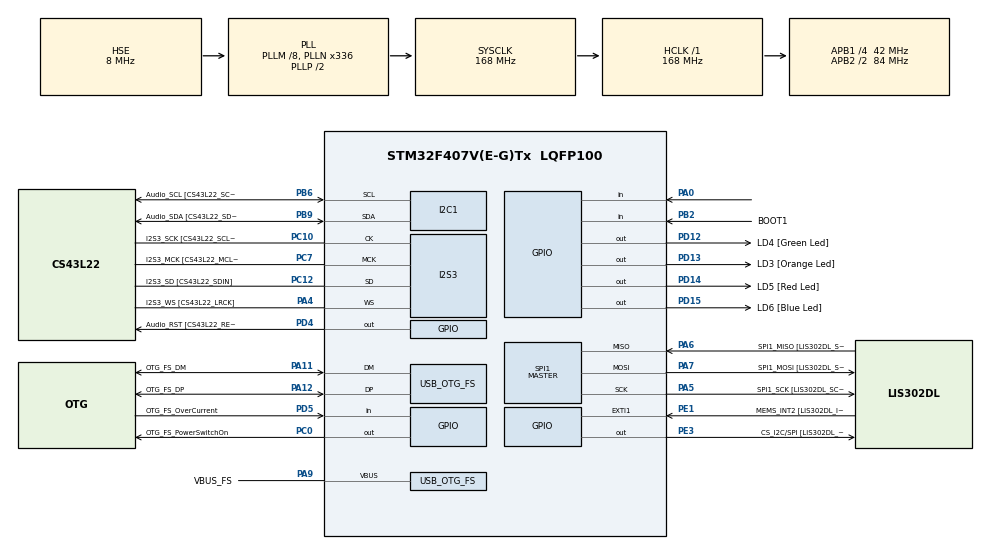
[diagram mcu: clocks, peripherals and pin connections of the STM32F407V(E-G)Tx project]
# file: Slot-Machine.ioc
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FREERTOS.Tasks01=defaultTask,24,128,StartDefaultTask,Default,NULL,Dynamic,NULL,NULL
I2S3.AudioFreq-Half_Duplex_Master=I2S_AUDIOFREQ_96K
I2S3.ErrorAudioFreq=-2.34 %
I2S3.ErrorAudioFreq-Half_Duplex_Master=0.8 %
I2S3.FullDuplexMode=I2S_FULLDUPLEXMODE_DISABLE
I2S3.Instance=SPI$Index
I2S3.RealAudioFreq=93.75 KHz
I2S3.RealAudioFreq-Half_Duplex_Master=96.774 KHz
I2S3.VirtualMode=I2S_MODE_MASTER
Mcu.Family=STM32F4
Mcu.Name=STM32F407V(E-G)Tx
Mcu.Package=LQFP100
NVIC.OTG_FS_IRQn=true\:5\:0\:false\:false\:true\:true\:true\:true\:true
NVIC.PriorityGroup=NVIC_PRIORITYGROUP_4
PA0-WKUP.Signal=GPIO_Input
PA10.GPIO_Label=OTG_FS_ID
PA10.GPIO_Mode=GPIO_MODE_AF_PP
PA10.GPIO_PuPd=GPIO_NOPULL
PA10.GPIO_Speed=GPIO_SPEED_FREQ_LOW
PA10.Signal=USB_OTG_FS_ID
PA11.GPIO_Label=OTG_FS_DM
PA11.GPIO_Mode=GPIO_MODE_AF_PP
PA11.GPIO_PuPd=GPIO_NOPULL
PA11.GPIO_Speed=GPIO_SPEED_FREQ_LOW
PA11.Mode=Host_Only
PA11.Signal=USB_OTG_FS_DM
PA12.GPIO_Label=OTG_FS_DP
PA12.GPIO_Mode=GPIO_MODE_AF_PP
PA12.GPIO_PuPd=GPIO_NOPULL
PA12.GPIO_Speed=GPIO_SPEED_FREQ_LOW
PA12.Mode=Host_Only
PA12.Signal=USB_OTG_FS_DP
PA13.GPIO_Label=SWDIO
PA13.Mode=Serial_Wire
PA13.Signal=SYS_JTMS-SWDIO
PA14.GPIO_Label=SWCLK
PA14.Mode=Serial_Wire
PA14.Signal=SYS_JTCK-SWCLK
PA4.GPIO_Label=I2S3_WS [CS43L22_LRCK]
PA4.GPIO_Mode=GPIO_MODE_AF_PP
PA4.GPIO_PuPd=GPIO_NOPULL
PA4.GPIO_Speed=GPIO_SPEED_FREQ_LOW
PA4.Mode=Half_Duplex_Master
PA4.Signal=I2S3_WS
PA5.GPIO_Label=SPI1_SCK [LIS302DL_SCL/SPC]
PA5.GPIO_Mode=GPIO_MODE_AF_PP
PA5.GPIO_PuPd=GPIO_NOPULL
PA5.GPIO_Speed=GPIO_SPEED_FREQ_LOW
PA5.Mode=Full_Duplex_Master
PA5.Signal=SPI1_SCK
PA6.GPIO_Label=SPI1_MISO [LIS302DL_SDO]
PA6.GPIO_Mode=GPIO_MODE_AF_PP
PA6.GPIO_PuPd=GPIO_NOPULL
PA6.GPIO_Speed=GPIO_SPEED_FREQ_LOW
PA6.Mode=Full_Duplex_Master
PA6.Signal=SPI1_MISO
PA7.GPIO_Label=SPI1_MOSI [LIS302DL_SDA/SDI/SDO]
PA7.GPIO_Mode=GPIO_MODE_AF_PP
PA7.GPIO_PuPd=GPIO_NOPULL
PA7.GPIO_Speed=GPIO_SPEED_FREQ_LOW
PA7.Mode=Full_Duplex_Master
PA7.Signal=SPI1_MOSI
PA9.GPIO_Label=VBUS_FS
PA9.GPIO_Mode=GPIO_MODE_INPUT
PA9.GPIO_PuPd=GPIO_NOPULL
PA9.Mode=Activate_VBUS
PA9.Signal=USB_OTG_FS_VBUS
PB10.GPIO_Label=CLK_IN [MP45DT02_CLK]
PB10.GPIO_Mode=GPIO_MODE_AF_PP
PB10.GPIO_PuPd=GPIO_NOPULL
PB10.GPIO_Speed=GPIO_SPEED_FREQ_LOW
PB10.Signal=I2S2_CK
PB2.GPIO_Label=BOOT1
PB2.GPIO_Mode=GPIO_MODE_INPUT
PB2.GPIO_PuPd=GPIO_NOPULL
PB2.Signal=GPIO_Input
PB3.GPIO_Label=SWO
PB3.Signal=SYS_JTDO-SWO
PB6.GPIO_Label=Audio_SCL [CS43L22_SCL]
PB6.GPIO_Mode=GPIO_MODE_AF_OD
PB6.GPIO_Pu=GPIO_PULLUP
PB6.GPIO_PuPd=GPIO_NOPULL
PB6.GPIO_Speed=GPIO_SPEED_FREQ_LOW
PB6.Mode=I2C
PB6.Signal=I2C1_SCL
PB9.GPIO_Label=Audio_SDA [CS43L22_SDA]
PB9.GPIO_Mode=GPIO_MODE_AF_OD
PB9.GPIO_Pu=GPIO_PULLUP
PB9.GPIO_PuPd=GPIO_NOPULL
PB9.GPIO_Speed=GPIO_SPEED_FREQ_LOW
PB9.Mode=I2C
PB9.Signal=I2C1_SDA
PC0.GPIO_Label=OTG_FS_PowerSwitchOn
PC0.GPIO_PuPd=GPIO_NOPULL
PC0.GPIO_Speed=GPIO_SPEED_FREQ_LOW
PC0.PinState=GPIO_PIN_SET
PC0.Signal=GPIO_Output
PC10.GPIO_Label=I2S3_SCK [CS43L22_SCLK]
PC10.GPIO_Mode=GPIO_MODE_AF_PP
PC10.GPIO_PuPd=GPIO_NOPULL
PC10.GPIO_Speed=GPIO_SPEED_FREQ_LOW
PC10.Mode=Half_Duplex_Master
PC10.Signal=I2S3_CK
PC12.GPIO_Label=I2S3_SD [CS43L22_SDIN]
PC12.GPIO_Mode=GPIO_MODE_AF_PP
PC12.GPIO_PuPd=GPIO_NOPULL
PC12.GPIO_Speed=GPIO_SPEED_FREQ_LOW
PC12.Mode=Half_Duplex_Master
PC12.Signal=I2S3_SD
PC14-OSC32_IN.GPIO_Label=PC14-OSC32_IN
PC14-OSC32_IN.Mode=LSE-External-Oscillator
PC14-OSC32_IN.Signal=RCC_OSC32_IN
PC15-OSC32_OUT.GPIO_Label=PC15-OSC32_OUT
PC15-OSC32_OUT.Mode=LSE-External-Oscillator
PC15-OSC32_OUT.Signal=RCC_OSC32_OUT
PC3.GPIO_Label=PDM_OUT [MP45DT02_DOUT]
PC3.GPIO_Mode=GPIO_MODE_AF_PP
PC3.GPIO_PuPd=GPIO_NOPULL
PC3.GPIO_Speed=GPIO_SPEED_FREQ_LOW
PC3.Signal=I2S2_SD
PC7.GPIO_Label=I2S3_MCK [CS43L22_MCLK]
PC7.GPIO_Mode=GPIO_MODE_AF_PP
PC7.GPIO_PuPd=GPIO_NOPULL
PC7.GPIO_Speed=GPIO_SPEED_FREQ_LOW
PC7.Mode=Master_Clock_Activated
PC7.Signal=I2S3_MCK
PD12.GPIO_Label=LD4 [Green Led]
PD12.GPIO_PuPd=GPIO_NOPULL
PD12.GPIO_Speed=GPIO_SPEED_FREQ_LOW
PD12.Signal=GPIO_Output
PD13.GPIO_Label=LD3 [Orange Led]
PD13.GPIO_PuPd=GPIO_NOPULL
PD13.GPIO_Speed=GPIO_SPEED_FREQ_LOW
PD13.Signal=GPIO_Output
PD14.GPIO_Label=LD5 [Red Led]
PD14.GPIO_PuPd=GPIO_NOPULL
PD14.GPIO_Speed=GPIO_SPEED_FREQ_LOW
PD14.Signal=GPIO_Output
PD15.GPIO_Label=LD6 [Blue Led]
PD15.GPIO_PuPd=GPIO_NOPULL
PD15.GPIO_Speed=GPIO_SPEED_FREQ_LOW
PD15.Signal=GPIO_Output
PD4.GPIO_Label=Audio_RST [CS43L22_RESET]
PD4.GPIO_PuPd=GPIO_NOPULL
PD4.GPIO_Speed=GPIO_SPEED_FREQ_LOW
PD4.Signal=GPIO_Output
PD5.GPIO_Label=OTG_FS_OverCurrent
PD5.GPIO_Mode=GPIO_MODE_INPUT
PD5.GPIO_PuPd=GPIO_NOPULL
PD5.Signal=GPIO_Input
PE1.GPIO_Label=MEMS_INT2 [LIS302DL_INT2]
PE1.GPIO_ModeDefaultEXTI=GPIO_MODE_EVT_RISING
PE1.GPIO_PuPd=GPIO_NOPULL
PE1.Signal=GPXTI1
PE3.GPIO_Label=CS_I2C/SPI [LIS302DL_CS_I2C/SPI]
PE3.GPIO_PuPd=GPIO_NOPULL
PE3.GPIO_Speed=GPIO_SPEED_FREQ_LOW
PE3.Signal=GPIO_Output
PH0-OSC_IN.GPIO_Label=PH0-OSC_IN
PH0-OSC_IN.Mode=HSE-External-Oscillator
PH0-OSC_IN.Signal=RCC_OSC_IN
PH1-OSC_OUT.GPIO_Label=PH1-OSC_OUT
PH1-OSC_OUT.Mode=HSE-External-Oscillator
PH1-OSC_OUT.Signal=RCC_OSC_OUT
ProjectManager.HeapSize=0x200
ProjectManager.StackSize=0x400
ProjectManager.TargetToolchain=STM32CubeIDE
RCC.48MHZClocksFreq_Value=48000000
RCC.AHBFreq_Value=168000000
RCC.APB1CLKDivider=RCC_HCLK_DIV4
RCC.APB1Freq_Value=42000000
RCC.APB1TimFreq_Value=84000000
RCC.APB2CLKDivider=RCC_HCLK_DIV2
RCC.APB2Freq_Value=84000000
RCC.APB2TimFreq_Value=168000000
RCC.CortexFreq_Value=168000000
RCC.HCLKFreq_Value=168000000
RCC.HSE_VALUE=8000000
RCC.HSI_VALUE=16000000
RCC.PLLM=8
RCC.PLLN=336
RCC.PLLQ=7
RCC.SYSCLKFreq_VALUE=168000000
RCC.SYSCLKSource=RCC_SYSCLKSOURCE_PLLCLK
RCC.VCOOutputFreq_Value=336000000
SPI1.BaudRatePrescaler-Full_Duplex_Master=SPI_BAUDRATEPRESCALER_2
SPI1.CalculateBaudRate-Full_Duplex_Master=42.0 MBits/s
SPI1.Direction=SPI_DIRECTION_2LINES
SPI1.Mode=SPI_MODE_MASTER
SPI1.Mode-Full_Duplex_Master=SPI_MODE_MASTER
SPI1.VirtualType=VM_MASTER
USB_HOST.BSP.number=1
USB_HOST.USBH_HandleTypeDef-CDC_FS=hUsbHostFS
USB_HOST.VirtualModeFS=Cdc
USB_HOST0.BSP.STBoard=false
USB_HOST0.BSP.api=Unknown
USB_HOST0.BSP.instance=PC0
USB_HOST0.BSP.ip=GPIO
USB_HOST0.BSP.mode=Output
USB_HOST0.BSP.name=Drive_VBUS_FS
USB_HOST0.BSP.solution=PC0
USB_OTG_FS.VirtualMode=Host_Only
USB_OTG_FS.phy_itface=HCD_PHY_EMBEDDED
VP_FREERTOS_VS_CMSIS_V2.Mode=CMSIS_V2
VP_RNG_VS_RNG.Mode=RNG_Activate
VP_USB_HOST_VS_USB_HOST_CDC_FS.Mode=CDC_FS
board=STM32F407G-DISC1

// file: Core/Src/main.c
/* USER CODE BEGIN Header */
/**
  ******************************************************************************
  * @file           : main.c
  * @brief          : Main program body
  ******************************************************************************
  * @attention
  *
  * Copyright (c) 2025 STMicroelectronics.
  * All rights reserved.
  *
  * This software is licensed under terms that can be found in the LICENSE file
  * in the root directory of this software component.
  * If no LICENSE file comes with this software, it is provided AS-IS.
  *
  ******************************************************************************
  */
/* USER CODE END Header */
#include "main.h"
#include "cmsis_os.h"
#include "usb_host.h"

/* USER CODE BEGIN Includes */
#include "FreeRTOS.h"
#include "FreeRTOSConfig.h"
#include "queue.h"
#include "stdlib.h"
#include "time.h"
/* USER CODE END Includes */

/* USER CODE BEGIN PTD */

typedef enum {
	IDLE = 0,
	SPINNING = 1,
	RESET_TO_IDLE = 2
} State_t;

typedef enum {
	EVT_ANY = 0,
	EVT_BUTTON_PRESS = 1,
	EVT_ANIM_COMPLETE = 2
} EventType_t;

typedef struct {
	EventType_t type;
	void* args;
} SystemEvent_t;

typedef struct {
	// maybe add another component here later, e.g duration
	void* args;
	void (*animation)(void*);
} Animation_t;

/* USER CODE END PTD */

/* USER CODE BEGIN PD */
#define LED_PORT GPIOD
#define RED_LED_PIN GPIO_PIN_14
#define ORANGE_LED_PIN GPIO_PIN_13
#define GREEN_LED_PIN GPIO_PIN_12
#define BLUE_LED_PIN GPIO_PIN_15

#define BUTTON_PORT      GPIOA
#define BUTTON_PIN       GPIO_PIN_0

/* USER CODE END PD */

I2C_HandleTypeDef hi2c1;

I2S_HandleTypeDef hi2s3;

RNG_HandleTypeDef hrng;

SPI_HandleTypeDef hspi1;

/* USER CODE BEGIN PV */
static QueueHandle_t xEventQueue = NULL;
static QueueHandle_t xAnimationQueue = NULL;
static const uint16_t LEDS[4] = {GREEN_LED_PIN, ORANGE_LED_PIN, RED_LED_PIN, BLUE_LED_PIN };
/* USER CODE END PV */

void SystemClock_Config(void);
static void MX_GPIO_Init(void);
static void MX_I2C1_Init(void);
static void MX_I2S3_Init(void);
static void MX_SPI1_Init(void);
static void MX_RNG_Init(void);

/* USER CODE BEGIN 0 */
static void AnimateTask(void* args);

static void PollButtonTask(void* args);

static void StateMachineTask(void* args);

/* USER CODE END 0 */

int main(void)
{

  /* MCU Configuration--------------------------------------------------------*/

  /* Reset of all peripherals, Initializes the Flash interface and the Systick. */
  HAL_Init();

  /* Configure the system clock */
  SystemClock_Config();

  /* Initialize all configured peripherals */
  MX_GPIO_Init();
  MX_I2C1_Init();
  MX_I2S3_Init();
  MX_SPI1_Init();
  MX_RNG_Init();
  /* USER CODE BEGIN 2 */
#ifdef DEBUG
	srand((unsigned int) xTaskGetTickCount());
#else
  int32_t seed;
  if (HAL_RNG_GenerateRandomNumber(&hrng, &seed) == HAL_OK) {
	  srand(seed);
  } else {
	  Error_Handler();
  }
#endif
  /* USER CODE END 2 */

  /* Init scheduler */
  osKernelInitialize();

  /* USER CODE BEGIN RTOS_QUEUES */
  /* add queues, ... */

  xEventQueue = xQueueCreate(10, sizeof(SystemEvent_t));
  xAnimationQueue = xQueueCreate(5, sizeof(Animation_t));
  if(xEventQueue == NULL || xAnimationQueue == NULL) {
	  Error_Handler();
  }
  /* USER CODE END RTOS_QUEUES */

  /* USER CODE BEGIN RTOS_THREADS */
  /* add threads, ... */
  xTaskCreate(AnimateTask, "Animator", configMINIMAL_STACK_SIZE, 128, tskIDLE_PRIORITY +1, NULL);
  xTaskCreate(PollButtonTask, "PollButton", configMINIMAL_STACK_SIZE, 128, tskIDLE_PRIORITY +1, NULL);
  xTaskCreate(StateMachineTask, "HandleStateLogic", configMINIMAL_STACK_SIZE, 128, tskIDLE_PRIORITY +2, NULL);
  vTaskStartScheduler();
  /* USER CODE END RTOS_THREADS */

  /* Start scheduler */

  /* We should never get here as control is now taken by the scheduler */

  /* Infinite loop */
  while (1)
  {

  }
}

void SystemClock_Config(void)
{
  RCC_OscInitTypeDef RCC_OscInitStruct = {0};
  RCC_ClkInitTypeDef RCC_ClkInitStruct = {0};

  /** Configure the main internal regulator output voltage
  */
  __HAL_RCC_PWR_CLK_ENABLE();
  __HAL_PWR_VOLTAGESCALING_CONFIG(PWR_REGULATOR_VOLTAGE_SCALE1);

  /** Initializes the RCC Oscillators according to the specified parameters
  * in the RCC_OscInitTypeDef structure.
  */
  RCC_OscInitStruct.OscillatorType = RCC_OSCILLATORTYPE_HSE;
  RCC_OscInitStruct.HSEState = RCC_HSE_ON;
  RCC_OscInitStruct.PLL.PLLState = RCC_PLL_ON;
  RCC_OscInitStruct.PLL.PLLSource = RCC_PLLSOURCE_HSE;
  RCC_OscInitStruct.PLL.PLLM = 8;
  RCC_OscInitStruct.PLL.PLLN = 336;
  RCC_OscInitStruct.PLL.PLLP = RCC_PLLP_DIV2;
  RCC_OscInitStruct.PLL.PLLQ = 7;
  if (HAL_RCC_OscConfig(&RCC_OscInitStruct) != HAL_OK)
  {
    Error_Handler();
  }

  /** Initializes the CPU, AHB and APB buses clocks
  */
  RCC_ClkInitStruct.ClockType = RCC_CLOCKTYPE_HCLK|RCC_CLOCKTYPE_SYSCLK
                              |RCC_CLOCKTYPE_PCLK1|RCC_CLOCKTYPE_PCLK2;
  RCC_ClkInitStruct.SYSCLKSource = RCC_SYSCLKSOURCE_PLLCLK;
  RCC_ClkInitStruct.AHBCLKDivider = RCC_SYSCLK_DIV1;
  RCC_ClkInitStruct.APB1CLKDivider = RCC_HCLK_DIV4;
  RCC_ClkInitStruct.APB2CLKDivider = RCC_HCLK_DIV2;

  if (HAL_RCC_ClockConfig(&RCC_ClkInitStruct, FLASH_LATENCY_5) != HAL_OK)
  {
    Error_Handler();
  }
}

static void MX_I2C1_Init(void)
{

  hi2c1.Instance = I2C1;
  hi2c1.Init.ClockSpeed = 100000;
  hi2c1.Init.DutyCycle = I2C_DUTYCYCLE_2;
  hi2c1.Init.OwnAddress1 = 0;
  hi2c1.Init.AddressingMode = I2C_ADDRESSINGMODE_7BIT;
  hi2c1.Init.DualAddressMode = I2C_DUALADDRESS_DISABLE;
  hi2c1.Init.OwnAddress2 = 0;
  hi2c1.Init.GeneralCallMode = I2C_GENERALCALL_DISABLE;
  hi2c1.Init.NoStretchMode = I2C_NOSTRETCH_DISABLE;
  if (HAL_I2C_Init(&hi2c1) != HAL_OK)
  {
    Error_Handler();
  }

}

static void MX_I2S3_Init(void)
{

  hi2s3.Instance = SPI3;
  hi2s3.Init.Mode = I2S_MODE_MASTER_TX;
  hi2s3.Init.Standard = I2S_STANDARD_PHILIPS;
  hi2s3.Init.DataFormat = I2S_DATAFORMAT_16B;
  hi2s3.Init.MCLKOutput = I2S_MCLKOUTPUT_ENABLE;
  hi2s3.Init.AudioFreq = I2S_AUDIOFREQ_96K;
  hi2s3.Init.CPOL = I2S_CPOL_LOW;
  hi2s3.Init.ClockSource = I2S_CLOCK_PLL;
  hi2s3.Init.FullDuplexMode = I2S_FULLDUPLEXMODE_DISABLE;
  if (HAL_I2S_Init(&hi2s3) != HAL_OK)
  {
    Error_Handler();
  }

}

static void MX_RNG_Init(void)
{

  hrng.Instance = RNG;
  if (HAL_RNG_Init(&hrng) != HAL_OK)
  {
    Error_Handler();
  }

}

static void MX_SPI1_Init(void)
{

  /* SPI1 parameter configuration*/
  hspi1.Instance = SPI1;
  hspi1.Init.Mode = SPI_MODE_MASTER;
  hspi1.Init.Direction = SPI_DIRECTION_2LINES;
  hspi1.Init.DataSize = SPI_DATASIZE_8BIT;
  hspi1.Init.CLKPolarity = SPI_POLARITY_LOW;
  hspi1.Init.CLKPhase = SPI_PHASE_1EDGE;
  hspi1.Init.NSS = SPI_NSS_SOFT;
  hspi1.Init.BaudRatePrescaler = SPI_BAUDRATEPRESCALER_2;
  hspi1.Init.FirstBit = SPI_FIRSTBIT_MSB;
  hspi1.Init.TIMode = SPI_TIMODE_DISABLE;
  hspi1.Init.CRCCalculation = SPI_CRCCALCULATION_DISABLE;
  hspi1.Init.CRCPolynomial = 10;
  if (HAL_SPI_Init(&hspi1) != HAL_OK)
  {
    Error_Handler();
  }

}

static void MX_GPIO_Init(void)
{
  GPIO_InitTypeDef GPIO_InitStruct = {0};
/* USER CODE BEGIN MX_GPIO_Init_1 */
//  GPIO_InitStruct.Pin = GPIO_PIN_0;
//    GPIO_InitStruct.Mode = GPIO_MODE_INPUT;
//    GPIO_InitStruct.Pull = GPIO_NOPULL;
//    HAL_GPIO_Init(GPIOA, &GPIO_InitStruct);
/* USER CODE END MX_GPIO_Init_1 */

  /* GPIO Ports Clock Enable */
  __HAL_RCC_GPIOE_CLK_ENABLE();
  __HAL_RCC_GPIOC_CLK_ENABLE();
  __HAL_RCC_GPIOH_CLK_ENABLE();
  __HAL_RCC_GPIOA_CLK_ENABLE();
  __HAL_RCC_GPIOB_CLK_ENABLE();
  __HAL_RCC_GPIOD_CLK_ENABLE();

  /*Configure GPIO pin Output Level */
  HAL_GPIO_WritePin(CS_I2C_SPI_GPIO_Port, CS_I2C_SPI_Pin, GPIO_PIN_RESET);

  /*Configure GPIO pin Output Level */
  HAL_GPIO_WritePin(OTG_FS_PowerSwitchOn_GPIO_Port, OTG_FS_PowerSwitchOn_Pin, GPIO_PIN_SET);

  /*Configure GPIO pin Output Level */
  HAL_GPIO_WritePin(GPIOD, LD4_Pin|LD3_Pin|LD5_Pin|LD6_Pin
                          |Audio_RST_Pin, GPIO_PIN_RESET);

  /*Configure GPIO pin : CS_I2C_SPI_Pin */
  GPIO_InitStruct.Pin = CS_I2C_SPI_Pin;
  GPIO_InitStruct.Mode = GPIO_MODE_OUTPUT_PP;
  GPIO_InitStruct.Pull = GPIO_NOPULL;
  GPIO_InitStruct.Speed = GPIO_SPEED_FREQ_LOW;
  HAL_GPIO_Init(CS_I2C_SPI_GPIO_Port, &GPIO_InitStruct);

  /*Configure GPIO pin : OTG_FS_PowerSwitchOn_Pin */
  GPIO_InitStruct.Pin = OTG_FS_PowerSwitchOn_Pin;
  GPIO_InitStruct.Mode = GPIO_MODE_OUTPUT_PP;
  GPIO_InitStruct.Pull = GPIO_NOPULL;
  GPIO_InitStruct.Speed = GPIO_SPEED_FREQ_LOW;
  HAL_GPIO_Init(OTG_FS_PowerSwitchOn_GPIO_Port, &GPIO_InitStruct);

  /*Configure GPIO pin : PDM_OUT_Pin */
  GPIO_InitStruct.Pin = PDM_OUT_Pin;
  GPIO_InitStruct.Mode = GPIO_MODE_AF_PP;
  GPIO_InitStruct.Pull = GPIO_NOPULL;
  GPIO_InitStruct.Speed = GPIO_SPEED_FREQ_LOW;
  GPIO_InitStruct.Alternate = GPIO_AF5_SPI2;
  HAL_GPIO_Init(PDM_OUT_GPIO_Port, &GPIO_InitStruct);

  /*Configure GPIO pin : PA0 */
  GPIO_InitStruct.Pin = GPIO_PIN_0;
  GPIO_InitStruct.Mode = GPIO_MODE_INPUT;
  GPIO_InitStruct.Pull = GPIO_NOPULL;
  HAL_GPIO_Init(GPIOA, &GPIO_InitStruct);

  /*Configure GPIO pin : BOOT1_Pin */
  GPIO_InitStruct.Pin = BOOT1_Pin;
  GPIO_InitStruct.Mode = GPIO_MODE_INPUT;
  GPIO_InitStruct.Pull = GPIO_NOPULL;
  HAL_GPIO_Init(BOOT1_GPIO_Port, &GPIO_InitStruct);

  /*Configure GPIO pin : CLK_IN_Pin */
  GPIO_InitStruct.Pin = CLK_IN_Pin;
  GPIO_InitStruct.Mode = GPIO_MODE_AF_PP;
  GPIO_InitStruct.Pull = GPIO_NOPULL;
  GPIO_InitStruct.Speed = GPIO_SPEED_FREQ_LOW;
  GPIO_InitStruct.Alternate = GPIO_AF5_SPI2;
  HAL_GPIO_Init(CLK_IN_GPIO_Port, &GPIO_InitStruct);

  /*Configure GPIO pins : LD4_Pin LD3_Pin LD5_Pin LD6_Pin
                           Audio_RST_Pin */
  GPIO_InitStruct.Pin = LD4_Pin|LD3_Pin|LD5_Pin|LD6_Pin
                          |Audio_RST_Pin;
  GPIO_InitStruct.Mode = GPIO_MODE_OUTPUT_PP;
  GPIO_InitStruct.Pull = GPIO_NOPULL;
  GPIO_InitStruct.Speed = GPIO_SPEED_FREQ_LOW;
  HAL_GPIO_Init(GPIOD, &GPIO_InitStruct);

  /*Configure GPIO pin : OTG_FS_OverCurrent_Pin */
  GPIO_InitStruct.Pin = OTG_FS_OverCurrent_Pin;
  GPIO_InitStruct.Mode = GPIO_MODE_INPUT;
  GPIO_InitStruct.Pull = GPIO_NOPULL;
  HAL_GPIO_Init(OTG_FS_OverCurrent_GPIO_Port, &GPIO_InitStruct);

  /*Configure GPIO pin : MEMS_INT2_Pin */
  GPIO_InitStruct.Pin = MEMS_INT2_Pin;
  GPIO_InitStruct.Mode = GPIO_MODE_EVT_RISING;
  GPIO_InitStruct.Pull = GPIO_NOPULL;
  HAL_GPIO_Init(MEMS_INT2_GPIO_Port, &GPIO_InitStruct);

}

/* USER CODE BEGIN 4 */

// green, orange, red, blue

static void writeAllLeds(GPIO_PinState state) {
	for(int i = 0; i < 4; ++i) {
		HAL_GPIO_WritePin(LED_PORT, LEDS[i], state);
	}
}

static void toggleLeds() {
	static int toggle = 0;
	writeAllLeds(toggle ? GPIO_PIN_SET : GPIO_PIN_RESET);
	toggle = !toggle;
}

static void wheelAnimation(void* arg) {
	int* finalIndex = (int*)arg;
	const int spins = 5;
	const int totalSpins = (spins*4) + *finalIndex + 1;

	const TickType_t delayMs_inc = 20;
	TickType_t delayMs = 50;
	int current_i = 0;
	for(int i = 0; i < totalSpins; ++i) {
		writeAllLeds(GPIO_PIN_RESET);

		HAL_GPIO_WritePin(LED_PORT, LEDS[current_i], GPIO_PIN_SET);
		vTaskDelay(pdMS_TO_TICKS(delayMs));
		delayMs += delayMs_inc;
		current_i = (current_i + 1) % 4;
	}
	writeAllLeds(GPIO_PIN_RESET);
	HAL_GPIO_WritePin(LED_PORT, LEDS[*finalIndex], GPIO_PIN_SET);
}

static void collectedAnimation(void* args) {
	int* collectedMask = (int*)args;
	for(int j = 0; j < 4; ++j) {
		for(int i = 0; i < 4; ++i) {
			if(*collectedMask & (1 << i)) {
				HAL_GPIO_WritePin(LED_PORT, LEDS[i], GPIO_PIN_SET);
			}
		}
		vTaskDelay(pdMS_TO_TICKS(200));
		writeAllLeds(GPIO_PIN_RESET);
		vTaskDelay(pdMS_TO_TICKS(200));
	}
}

static void loseAnimation(void* args) {
	for (int i = 0; i < 3; i++) {
		HAL_GPIO_WritePin(LED_PORT, RED_LED_PIN, GPIO_PIN_SET);
		vTaskDelay(pdMS_TO_TICKS(250));
		HAL_GPIO_WritePin(LED_PORT, RED_LED_PIN, GPIO_PIN_RESET);
		vTaskDelay(pdMS_TO_TICKS(250));
	}

	writeAllLeds(GPIO_PIN_SET);
	vTaskDelay(pdMS_TO_TICKS(200));
	writeAllLeds(GPIO_PIN_RESET);
}

static void winningAnimation(void* args) {
    for (int cycle = 0; cycle < 3; cycle++) {
        for (int i = 0; i < 4; i++) {
            writeAllLeds(GPIO_PIN_RESET);
            HAL_GPIO_WritePin(LED_PORT, LEDS[i], GPIO_PIN_SET);
            vTaskDelay(pdMS_TO_TICKS(150));
        }
    }

    writeAllLeds(GPIO_PIN_SET);
    vTaskDelay(pdMS_TO_TICKS(500));
    writeAllLeds(GPIO_PIN_RESET);
}

void AnimateTask(void *args) {
	Animation_t next;
	SystemEvent_t evt;
	for(;;) {
		if(xQueueReceive(xAnimationQueue, &next, portMAX_DELAY) == pdTRUE) {
			next.animation(next.args);

			evt.type = EVT_ANIM_COMPLETE;
			evt.args = NULL;
			xQueueSend(xEventQueue, &evt, 0);
		}

		vTaskDelay(pdMS_TO_TICKS(50));
	}
}

void PollButtonTask(void *args) {
	SystemEvent_t evt;
	for(;;) {
		if(HAL_GPIO_ReadPin(BUTTON_PORT, BUTTON_PIN) == GPIO_PIN_SET) {
			evt.type = EVT_BUTTON_PRESS;
			evt.args = NULL;

			xQueueSend(xEventQueue, &evt, 0);
			vTaskDelay(pdMS_TO_TICKS(200)); // Debounce
		}
		vTaskDelay(pdMS_TO_TICKS(50));
	}
}

void spin(Animation_t* anim, int* colorBit, int* winningNum) {
	*winningNum = rand() % 4;
	*colorBit = (1 << *winningNum);
	anim->animation = wheelAnimation;
	anim->args = winningNum;
}

void setNextAnimation(Animation_t* nextAnim, State_t* state, int* collectedMask, int* colorBit)
{
    switch (*state) {
        case SPINNING:
        	*state = RESET_TO_IDLE;
            if ((*collectedMask) & *colorBit) {
            	(*collectedMask) = 0;
            	nextAnim->animation = loseAnimation;
            } else {
                (*collectedMask) |= *colorBit;
                if (((*collectedMask) & 0xF) == 0xF) {
                    (*collectedMask) = 0;
                    nextAnim->animation = winningAnimation;
                } else {
                    nextAnim->animation = collectedAnimation;
                    nextAnim->args = collectedMask;
                }
            }
            break;
        case RESET_TO_IDLE:
        	*state = IDLE;
            break;
    }
}

void StateMachineTask(void *args) {
	SystemEvent_t evt;
	EventType_t next = EVT_ANY;
	State_t state = IDLE;
	Animation_t nextAnim;

	int next_number = 0;
	nextAnim.animation = wheelAnimation;
	nextAnim.args = &next_number;
	int collectedMask = 0;
	int colorBit = 0;

	for(;;) {
		if(xQueueReceive(xEventQueue, &evt, portMAX_DELAY) == pdTRUE) {
			if(next != EVT_ANY && next != evt.type) {
				continue; // Do not process
			}

			switch (evt.type) {
			case EVT_BUTTON_PRESS:
				state = SPINNING;
				next = EVT_ANIM_COMPLETE;
				spin(&nextAnim, &colorBit, &next_number);
				xQueueSend(xAnimationQueue, &nextAnim, portMAX_DELAY);
				break;
			case EVT_ANIM_COMPLETE:
				setNextAnimation(&nextAnim, &state, &collectedMask, &colorBit);
				if (state == RESET_TO_IDLE) {
					xQueueSend(xAnimationQueue, &nextAnim, portMAX_DELAY);
				}
				else if (state == IDLE) {
					next = EVT_ANY;
				}
			default:
				break;
			}
		}
	}
}

/* USER CODE END 4 */

void Error_Handler(void)
{
  /* USER CODE BEGIN Error_Handler_Debug */
  /* User can add his own implementation to report the HAL error return state */
  __disable_irq();
  while (1)
  {
	  HAL_GPIO_TogglePin(LED_PORT, RED_LED_PIN);
	  HAL_GPIO_WritePin(LED_PORT, BLUE_LED_PIN, GPIO_PIN_RESET);
	  HAL_GPIO_WritePin(LED_PORT, GREEN_LED_PIN, GPIO_PIN_RESET);
   	  HAL_GPIO_WritePin(LED_PORT, ORANGE_LED_PIN, GPIO_PIN_RESET);
  }
  /* USER CODE END Error_Handler_Debug */
}
